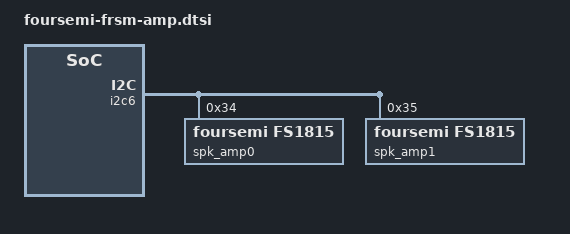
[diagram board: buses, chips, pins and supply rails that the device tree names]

&odm {
	frsm_amp {
		compatible = "foursemi,frsm-amp";
		frsm,amp-ndev = <2>;
		frsm,class-enable;
		status = "ok";
	};
};

&i2c6 {
	spk_amp0:fs1815@34 {
		compatible = "foursemi,fs1815";
		reg = <0x34>;
		fwm-name = "fs181x-rcv.bin";
		spkr-id = <1>;
		status = "ok";
	};
	spk_amp1:fs1815@35 {
		compatible = "foursemi,fs1815";
		reg = <0x35>;
		fwm-name = "fs181x-spk.bin";
		spkr-id = <2>;
		status = "ok";
	};
};

